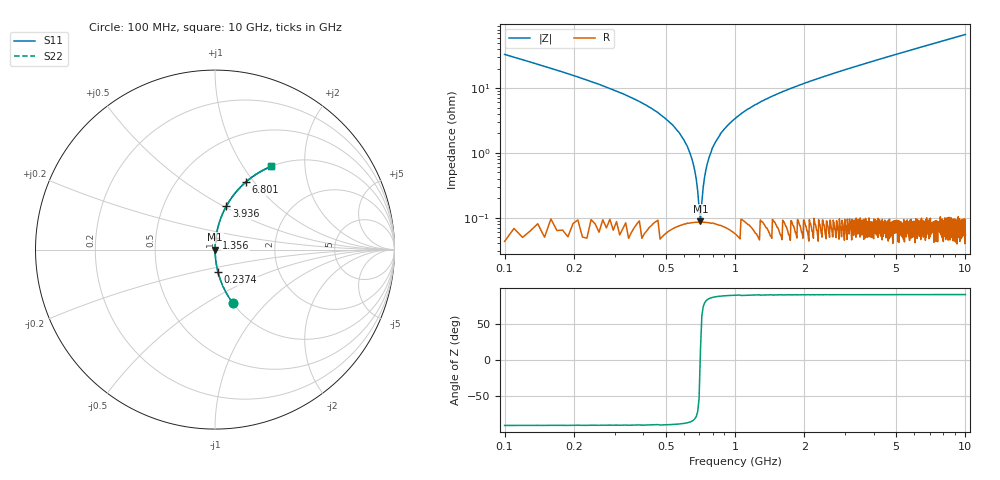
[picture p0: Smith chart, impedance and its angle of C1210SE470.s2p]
! AVX Thin Film Operation		Date: April 2012
! Description: Accu-P® Series, Thin Film, SMD, RF Capacitor
! Part Number: 12101J470FBTTR
!	100	MHz	-	10.05	GHz
!	Serial	Measurements
#	MHZ	S	MA	R	50
!	S11	S21	S12	S22
!	dB	Phase	dB	Phase	dB	Phase	dB	Phase
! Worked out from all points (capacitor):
!   1010 points, 100 MHz to 10 GHz, reference 50 ohm
!   read as one part in series: C = 47 pF near 149.1 MHz
!   lowest |Z| = 88 mohm at 708.3 MHz (marker M1)
!   series resonance near 706.7 MHz, so ESL is about 1.1 nH
!   S11 on the Smith chart (normalised r, x): 100 MHz: 1.00, -0.66; 237.4 MHz: 1.00, -0.25; 1.356 GHz: 1.00, +0.13; 3.936 GHz: 1.00, +0.52; 6.801 GHz: 1.00, +0.91; 10 GHz: 1.00, +1.35
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100  0.315 -71.5  0.949 18.3  0.949 18.3  0.315 -71.5
237.364  0.125 -82.5  0.991 7.2  0.991 7.2  0.125 -82.5
443.409  0.046 -86.5  0.998 2.6  0.998 2.6  0.046 -86.5
551.338  0.024 -87.0  0.999 1.4  0.999 1.4  0.024 -87.0
620.02  0.013 -86.1  0.999 0.7  0.999 0.7  0.013 -86.1
678.89  0.00391 -79.5  0.999 0.2  0.999 0.2  0.00391 -79.5
708.325  0.000735 17.8  0.999 -0.0  0.999 -0.0  0.000735 17.8
737.76  0.00418 80.1  0.999 -0.2  0.999 -0.2  0.00418 80.1
777.007  0.00913 85.1  0.999 -0.5  0.999 -0.5  0.00913 85.1
806.442  0.013 86.1  0.999 -0.7  0.999 -0.7  0.013 86.1
904.559  0.024 87.0  0.999 -1.4  0.999 -1.4  0.024 87.0
1090.981  0.043 86.6  0.998 -2.5  0.998 -2.5  0.043 86.6
1355.897  0.067 85.6  0.997 -3.8  0.997 -3.8  0.067 85.6
1758.176  0.099 83.9  0.994 -5.7  0.994 -5.7  0.099 83.9
2444.995  0.15 81.1  0.988 -8.6  0.988 -8.6  0.15 81.1
3406.541  0.216 77.4  0.976 -12.5  0.976 -12.5  0.216 77.4
3936.373  0.25 75.4  0.968 -14.5  0.968 -14.5  0.25 75.4
5054.906  0.318 71.3  0.947 -18.6  0.947 -18.6  0.318 71.3
6703.271  0.41 65.7  0.912 -24.2  0.912 -24.2  0.41 65.7
6801.388  0.415 65.4  0.909 -24.5  0.909 -24.5  0.415 65.4
8351.635  0.49 60.6  0.871 -29.3  0.871 -29.3  0.49 60.6
10000  0.559 56.0  0.829 -34.0  0.829 -34.0  0.559 56.0
